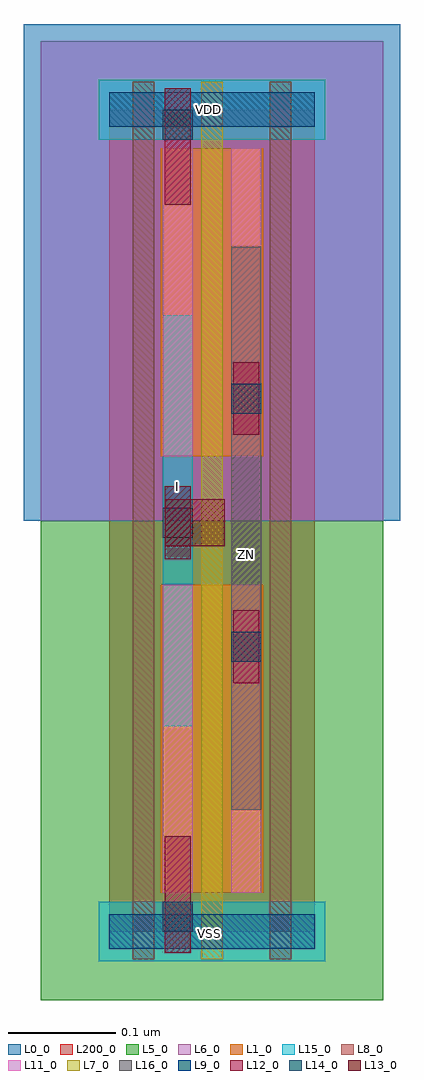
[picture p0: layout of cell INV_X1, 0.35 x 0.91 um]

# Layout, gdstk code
import gdstk
lib = gdstk.Library(unit=1e-6, precision=1e-09)
def R(c, l, rs):  # rectangles x0, y0, x1, y1
    for r in rs: c.add(gdstk.rectangle(r[:2], r[2:], *l))
L0_0 = (0, 0)
L1_0 = (1, 0)
L5_0 = (5, 0)
L6_0 = (6, 0)
L7_0 = (7, 0)
L8_0 = (8, 0)
L9_0 = (9, 0)
L11_0 = (11, 0)
L12_0 = (12, 0)
L13_0 = (13, 0)
L14_0 = (14, 0)
L15_0 = (15, 0)
L16_0 = (16, 0)
L200_0 = (200, 0)

inv_x1 = lib.new_cell('INV_X1')
R(inv_x1, L0_0, [(-0.08,0.384,0.272,0.848)])
R(inv_x1, L1_0, [(0.048,0.036,0.144,0.324), (0.048,0.444,0.144,0.732)])
R(inv_x1, L5_0, [(-0.064,-0.064,0.256,0.384)])
R(inv_x1, L6_0, [(-0.064,0.384,0.256,0.832)])
R(inv_x1, L7_0, [(0.086,-0.026,0.106,0.794)])
R(inv_x1, L8_0, [(0.022,-0.026,0.042,0.794), (0.15,-0.026,0.17,0.794)])
R(inv_x1, L9_0, [(0,-0.016,0.192,0.016), (0,0.752,0.192,0.784)])
R(inv_x1, L11_0, [(0.05,0.036,0.078,0.324), (0.114,0.036,0.142,0.324), (0.05,0.444,0.078,0.732), (0.114,0.444,0.142,0.732)])
R(inv_x1, L12_0, [(0.052,-0.02,0.076,0.089), (0.116,0.232,0.14,0.3), (0.052,0.348,0.076,0.416), (0.116,0.464,0.14,0.532), (0.052,0.679,0.076,0.788)])
R(inv_x1, L13_0, [(0.052,0.36,0.108,0.404)])
R(inv_x1, L14_0, [(0.05,0,0.078,0.028), (0.114,0.252,0.142,0.28), (0.05,0.368,0.078,0.396), (0.114,0.484,0.142,0.512), (0.05,0.74,0.078,0.768)])
R(inv_x1, L15_0, [(-0.01,-0.028,0.202,0.028), (0.05,0.192,0.078,0.576), (-0.01,0.74,0.202,0.796)])
R(inv_x1, L16_0, [(0.114,0.114,0.142,0.64)])
R(inv_x1, L200_0, [(0,0,0.192,0.768)])
inv_x1.add(gdstk.Label('VSS', (0.094,-0.002), layer=15, texttype=20))
inv_x1.add(gdstk.Label('I', (0.064,0.416), layer=15, texttype=20))
inv_x1.add(gdstk.Label('VDD', (0.093,0.768), layer=15, texttype=20))
inv_x1.add(gdstk.Label('ZN', (0.128,0.352), layer=16, texttype=20))

lib.write_gds('INV_X1.gds')
